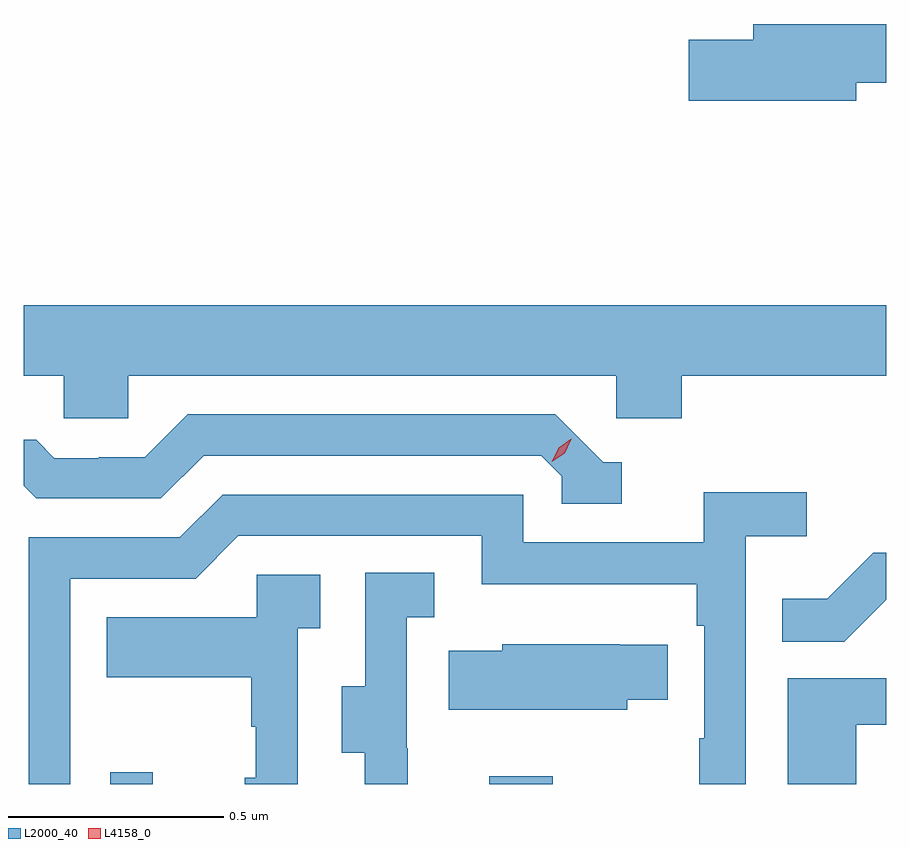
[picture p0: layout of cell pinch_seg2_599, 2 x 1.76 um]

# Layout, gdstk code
import gdstk
lib = gdstk.Library(unit=1e-6, precision=1e-09)
def R(c, l, rs):  # rectangles x0, y0, x1, y1
    for r in rs: c.add(gdstk.rectangle(r[:2], r[2:], *l))
def P(c, l, *ps):  # polygons
    for p in ps: c.add(gdstk.Polygon(p, *l))
L2000_40 = (2000, 40)
L4158_0 = (4158, 0)

pinch_seg2_599 = lib.new_cell('pinch_seg2_599')
R(pinch_seg2_599, L2000_40, [(1077.747,606.73,1077.845,606.757), (1078.625,606.73,1078.773,606.748)])
P(pinch_seg2_599, L2000_40, [(1079.476,608.356),(1079.546,608.356),(1079.546,608.492),(1079.237,608.492),(1079.237,608.456),(1079.088,608.456),(1079.088,608.314),(1079.476,608.314)],
  [(1077.789,607.676),(1078.92,607.676),(1078.92,607.578),(1079.072,607.578),(1079.072,607.676),(1079.546,607.676),(1079.546,607.84),(1077.546,607.84),(1077.546,607.676),(1077.639,607.676),(1077.639,607.578),(1077.789,607.578)],
  [(1078.933,607.476),(1078.89,607.476),(1078.779,607.587),(1077.926,607.587),(1077.827,607.488),(1077.72,607.488),(1077.72,607.485),(1077.617,607.485),(1077.575,607.528),(1077.546,607.528),(1077.546,607.421),(1077.575,607.392),(1077.864,607.392),(1077.963,607.491),(1078.746,607.491),(1078.794,607.443),(1078.794,607.38),(1078.933,607.38)],
  [(1077.654,607.206),(1077.945,607.206),(1078.044,607.305),(1078.608,607.305),(1078.608,607.193),(1079.107,607.193),(1079.107,607.097),(1079.124,607.097),(1079.124,606.836),(1079.112,606.836),(1079.112,606.73),(1079.22,606.73),(1079.22,607.304),(1079.362,607.304),(1079.362,607.406),(1079.123,607.406),(1079.123,607.29),(1078.704,607.29),(1078.704,607.401),(1078.007,607.401),(1077.908,607.302),(1077.558,607.302),(1077.558,606.73),(1077.654,606.73)],
  [(1079.546,607.157),(1079.546,607.266),(1079.516,607.266),(1079.409,607.159),(1079.305,607.159),(1079.305,607.06),(1079.449,607.06)],
  [(1078.436,606.813),(1078.434,606.813),(1078.434,607.117),(1078.498,607.117),(1078.498,607.22),(1078.338,607.22),(1078.338,606.957),(1078.283,606.957),(1078.283,606.802),(1078.337,606.802),(1078.337,606.73),(1078.436,606.73)],
  [(1078.182,607.091),(1078.234,607.091),(1078.234,607.215),(1078.086,607.215),(1078.086,607.117),(1077.739,607.117),(1077.739,606.977),(1078.074,606.977),(1078.074,606.863),(1078.084,606.863),(1078.084,606.744),(1078.058,606.744),(1078.058,606.73),(1078.182,606.73)],
  [(1078.945,606.925),(1079.039,606.925),(1079.039,607.053),(1078.928,607.053),(1078.928,607.054),(1078.656,607.054),(1078.656,607.039),(1078.531,607.039),(1078.531,606.902),(1078.945,606.902)],
  [(1079.476,606.867),(1079.546,606.867),(1079.546,606.975),(1079.318,606.975),(1079.318,606.73),(1079.476,606.73)])
P(pinch_seg2_599, L4158_0, [(1078.77,607.477),(1078.77,607.477),(1078.786,607.51),(1078.816,607.53),(1078.816,607.53),(1078.816,607.529),(1078.801,607.497),(1078.77,607.477)])

lib.write_gds('pinch_seg2_599.gds')
